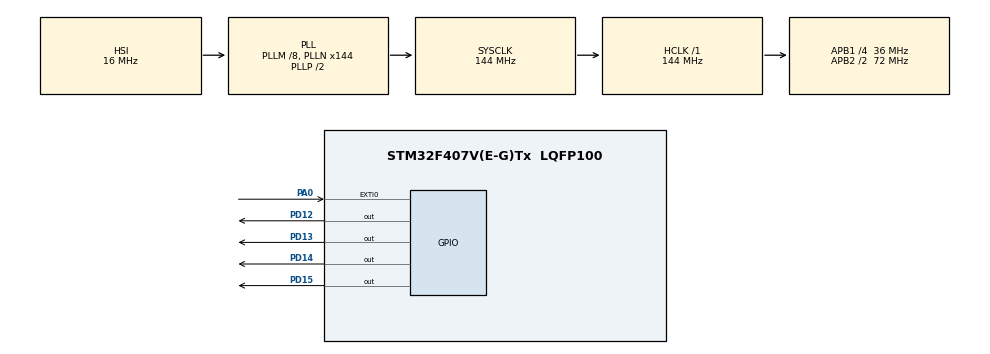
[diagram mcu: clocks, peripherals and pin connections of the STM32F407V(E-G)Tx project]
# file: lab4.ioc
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Mcu.Family=STM32F4
Mcu.Name=STM32F407V(E-G)Tx
Mcu.Package=LQFP100
NVIC.EXTI0_IRQn=true\:0\:0\:false\:false\:true\:true\:true\:true
NVIC.PriorityGroup=NVIC_PRIORITYGROUP_4
NVIC.TIM3_IRQn=true\:0\:0\:false\:false\:true\:true\:true\:true
PA0-WKUP.GPIO_ModeDefaultEXTI=GPIO_MODE_IT_RISING_FALLING
PA0-WKUP.Signal=GPXTI0
PA13.Mode=Serial_Wire
PA13.Signal=SYS_JTMS-SWDIO
PA14.Mode=Serial_Wire
PA14.Signal=SYS_JTCK-SWCLK
PC14-OSC32_IN.Mode=LSE-External-Oscillator
PC14-OSC32_IN.Signal=RCC_OSC32_IN
PC15-OSC32_OUT.Mode=LSE-External-Oscillator
PC15-OSC32_OUT.Signal=RCC_OSC32_OUT
PD12.Signal=GPIO_Output
PD13.Signal=GPIO_Output
PD14.Signal=GPIO_Output
PD15.Signal=GPIO_Output
PH0-OSC_IN.Mode=HSE-External-Oscillator
PH0-OSC_IN.Signal=RCC_OSC_IN
PH1-OSC_OUT.Mode=HSE-External-Oscillator
PH1-OSC_OUT.Signal=RCC_OSC_OUT
ProjectManager.HeapSize=0x200
ProjectManager.StackSize=0x400
ProjectManager.TargetToolchain=STM32CubeIDE
RCC.48MHZClocksFreq_Value=72000000
RCC.AHBFreq_Value=144000000
RCC.APB1CLKDivider=RCC_HCLK_DIV4
RCC.APB1Freq_Value=36000000
RCC.APB1TimFreq_Value=72000000
RCC.APB2CLKDivider=RCC_HCLK_DIV2
RCC.APB2Freq_Value=72000000
RCC.APB2TimFreq_Value=144000000
RCC.CortexFreq_Value=144000000
RCC.HCLKFreq_Value=144000000
RCC.HSE_VALUE=25000000
RCC.HSI_VALUE=16000000
RCC.PLLM=8
RCC.PLLN=144
RCC.SYSCLKFreq_VALUE=144000000
RCC.SYSCLKSource=RCC_SYSCLKSOURCE_PLLCLK
RCC.VCOOutputFreq_Value=288000000
TIM3.Period=1000
TIM3.Prescaler=71
VP_TIM3_VS_ClockSourceINT.Mode=Internal
board=custom

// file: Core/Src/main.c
/* USER CODE BEGIN Header */
/**
  ******************************************************************************
  * @file           : main.c
  * @brief          : Main program body
  ******************************************************************************
  * @attention
  *
  * Copyright (c) 2024 STMicroelectronics.
  * All rights reserved.
  *
  * This software is licensed under terms that can be found in the LICENSE file
  * in the root directory of this software component.
  * If no LICENSE file comes with this software, it is provided AS-IS.
  *
  ******************************************************************************
  */
/* USER CODE END Header */
#include "main.h"
#include "tim.h"
#include "gpio.h"

/* USER CODE BEGIN PTD */
int currentTime;
int previousTime;
/* USER CODE END PTD */

void SystemClock_Config(void);

/* USER CODE BEGIN 0 */
int queue = 1;
int buttonState = 0;
int buttonPressTime = 0;
/* USER CODE END 0 */

int main(void)
{

  /* MCU Configuration--------------------------------------------------------*/

  /* Reset of all peripherals, Initializes the Flash interface and the Systick. */
  HAL_Init();

  /* Configure the system clock */
  SystemClock_Config();

  /* Initialize all configured peripherals */
  MX_GPIO_Init();
  MX_TIM3_Init();
  /* USER CODE BEGIN 2 */
  HAL_TIM_Base_Start_IT(&htim3);
  /* USER CODE END 2 */

  /* Infinite loop */
  while (1)
  {
	  currentTime = HAL_GetTick();

	      // Перевірка на натискання кнопки
	      if (HAL_GPIO_ReadPin(GPIOA, GPIO_PIN_0) == GPIO_PIN_SET) { // Кнопка натиснута
	          if (buttonState == 0) {
	              // Викликаємо передчасне засвічування наступного світлодіоду
	              switch (queue) {
	                  case 1:
	                      HAL_GPIO_WritePin(GPIOD, GPIO_PIN_14, GPIO_PIN_RESET);
	                      HAL_GPIO_TogglePin(GPIOD, GPIO_PIN_13);
	                      queue++;
	                      break;
	                  case 2:
	                      HAL_GPIO_TogglePin(GPIOD, GPIO_PIN_13);
	                      HAL_GPIO_TogglePin(GPIOD, GPIO_PIN_15);
	                      queue++;
	                      break;
	                  case 3:
	                      HAL_GPIO_TogglePin(GPIOD, GPIO_PIN_15);
	                      HAL_GPIO_TogglePin(GPIOD, GPIO_PIN_14);
	                      queue = 1;
	                      break;
	                  default:
	                      queue = 1;
	                      break;
	              }
	              buttonState = 1; // Позначаємо, що кнопка натиснута
	              buttonPressTime = currentTime; // Зберігаємо час натискання
	          }
	      } else if (buttonState == 1) {
	          // Перевірка на антидребезг
	          if (currentTime - buttonPressTime >= 100) {
	              buttonState = 0; // Скидаємо стан кнопки
	          }
	      }
  }
}

void SystemClock_Config(void)
{
  RCC_OscInitTypeDef RCC_OscInitStruct = {0};
  RCC_ClkInitTypeDef RCC_ClkInitStruct = {0};

  /** Configure the main internal regulator output voltage
  */
  __HAL_RCC_PWR_CLK_ENABLE();
  __HAL_PWR_VOLTAGESCALING_CONFIG(PWR_REGULATOR_VOLTAGE_SCALE1);

  /** Initializes the RCC Oscillators according to the specified parameters
  * in the RCC_OscInitTypeDef structure.
  */
  RCC_OscInitStruct.OscillatorType = RCC_OSCILLATORTYPE_HSI;
  RCC_OscInitStruct.HSIState = RCC_HSI_ON;
  RCC_OscInitStruct.HSICalibrationValue = RCC_HSICALIBRATION_DEFAULT;
  RCC_OscInitStruct.PLL.PLLState = RCC_PLL_ON;
  RCC_OscInitStruct.PLL.PLLSource = RCC_PLLSOURCE_HSI;
  RCC_OscInitStruct.PLL.PLLM = 8;
  RCC_OscInitStruct.PLL.PLLN = 144;
  RCC_OscInitStruct.PLL.PLLP = RCC_PLLP_DIV2;
  RCC_OscInitStruct.PLL.PLLQ = 4;
  if (HAL_RCC_OscConfig(&RCC_OscInitStruct) != HAL_OK)
  {
    Error_Handler();
  }

  /** Initializes the CPU, AHB and APB buses clocks
  */
  RCC_ClkInitStruct.ClockType = RCC_CLOCKTYPE_HCLK|RCC_CLOCKTYPE_SYSCLK
                              |RCC_CLOCKTYPE_PCLK1|RCC_CLOCKTYPE_PCLK2;
  RCC_ClkInitStruct.SYSCLKSource = RCC_SYSCLKSOURCE_PLLCLK;
  RCC_ClkInitStruct.AHBCLKDivider = RCC_SYSCLK_DIV1;
  RCC_ClkInitStruct.APB1CLKDivider = RCC_HCLK_DIV4;
  RCC_ClkInitStruct.APB2CLKDivider = RCC_HCLK_DIV2;

  if (HAL_RCC_ClockConfig(&RCC_ClkInitStruct, FLASH_LATENCY_4) != HAL_OK)
  {
    Error_Handler();
  }
}

/* USER CODE BEGIN 4 */
void HAL_TIM_PeriodElapsedCallback(TIM_HandleTypeDef *htim){

     if (htim == &htim3){

       currentTime = HAL_GetTick(); // Отримуємо поточний ча�?
           if (currentTime - previousTime >= 1000) { // 1000 м�? = 1 �?екунда
                      previousTime = currentTime; // Оновлюємо попередній ча�?
           switch (queue) {
                          case 1:
                           HAL_GPIO_WritePin(GPIOD, GPIO_PIN_14, GPIO_PIN_RESET);
                           HAL_GPIO_TogglePin(GPIOD, GPIO_PIN_13);
                              queue++;

                              break;
                          case 2:
                           HAL_GPIO_TogglePin(GPIOD, GPIO_PIN_13);
                           HAL_GPIO_TogglePin(GPIOD, GPIO_PIN_15);
                              queue++;

                              break;
                          case 3:
                           HAL_GPIO_TogglePin(GPIOD, GPIO_PIN_15);
                           HAL_GPIO_TogglePin(GPIOD, GPIO_PIN_14);
                              queue = 1;

                              break;
                          default:
                              queue = 1;
                              break;
                      }
           }

       //HAL_GPIO_TogglePin(GPIOD, GPIO_PIN_13);

     }

}

/* USER CODE END 4 */

void Error_Handler(void)
{
  __disable_irq();
  while (1)
  {
  }
}
